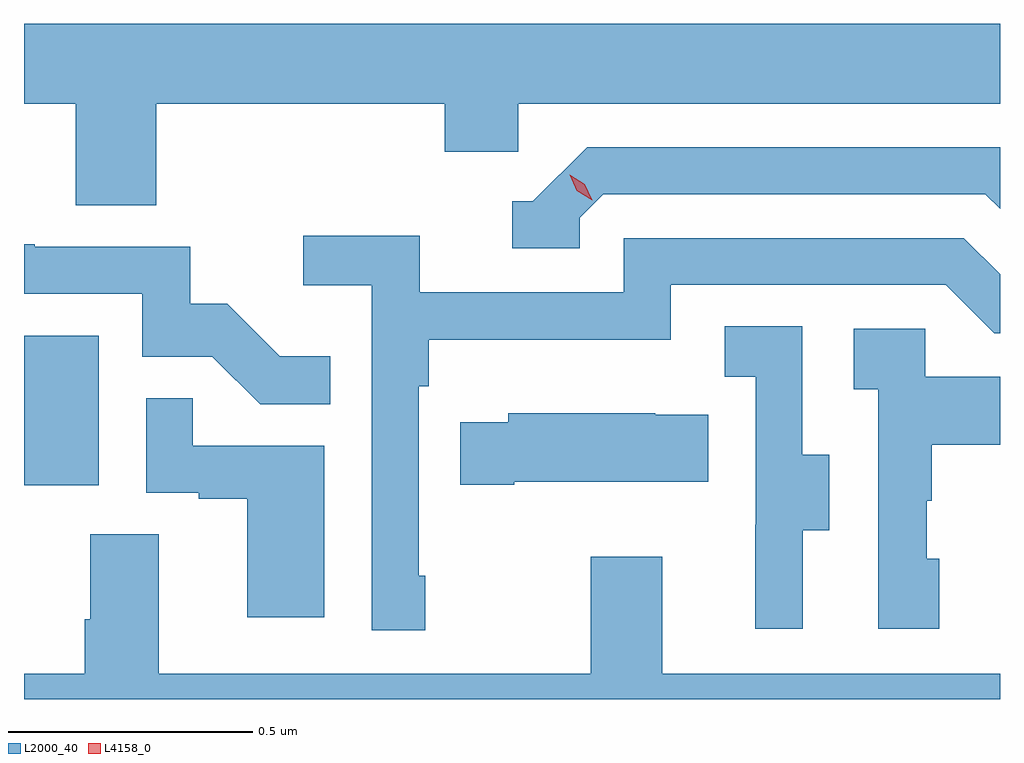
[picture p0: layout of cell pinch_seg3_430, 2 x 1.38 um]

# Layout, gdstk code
import gdstk
lib = gdstk.Library(unit=1e-6, precision=1e-09)
def R(c, l, rs):  # rectangles x0, y0, x1, y1
    for r in rs: c.add(gdstk.rectangle(r[:2], r[2:], *l))
def P(c, l, *ps):  # polygons
    for p in ps: c.add(gdstk.Polygon(p, *l))
L2000_40 = (2000, 40)
L4158_0 = (4158, 0)

pinch_seg3_430 = lib.new_cell('pinch_seg3_430')
R(pinch_seg3_430, L2000_40, [(938.113,702.798,938.266,703.105)])
P(pinch_seg3_430, L2000_40, [(938.384,703.58),(938.975,703.58),(938.975,703.482),(939.126,703.482),(939.126,703.58),(940.113,703.58),(940.113,703.744),(938.113,703.744),(938.113,703.58),(938.219,703.58),(938.219,703.372),(938.384,703.372)],
  [(939.252,703.347),(939.3,703.395),(940.083,703.395),(940.113,703.365),(940.113,703.491),(939.267,703.491),(939.156,703.38),(939.113,703.38),(939.113,703.284),(939.252,703.284)],
  [(938.935,702.613),(938.922,702.613),(938.922,703.001),(938.942,703.001),(938.942,703.097),(939.438,703.097),(939.438,703.209),(940.002,703.209),(940.101,703.11),(940.113,703.11),(940.113,703.231),(940.039,703.305),(939.342,703.305),(939.342,703.194),(938.924,703.194),(938.924,703.31),(938.685,703.31),(938.685,703.208),(938.826,703.208),(938.826,702.501),(938.935,702.501)],
  [(938.741,703.063),(938.637,703.063),(938.53,703.17),(938.454,703.17),(938.454,703.287),(938.135,703.287),(938.135,703.292),(938.113,703.292),(938.113,703.191),(938.355,703.191),(938.355,703.062),(938.499,703.062),(938.597,702.964),(938.741,702.964)],
  [(939.709,702.706),(939.763,702.706),(939.763,702.861),(939.708,702.861),(939.708,703.124),(939.549,703.124),(939.549,703.021),(939.612,703.021),(939.612,702.717),(939.611,702.717),(939.611,702.504),(939.709,702.504)],
  [(939.988,702.648),(939.963,702.648),(939.963,702.767),(939.973,702.767),(939.973,702.881),(940.113,702.881),(940.113,703.021),(939.96,703.021),(939.96,703.119),(939.813,703.119),(939.813,702.995),(939.864,702.995),(939.864,702.504),(939.988,702.504)],
  [(938.728,702.879),(938.459,702.879),(938.459,702.977),(938.364,702.977),(938.364,702.783),(938.471,702.783),(938.471,702.771),(938.57,702.771),(938.57,702.528),(938.728,702.528)],
  [(939.118,702.806),(939.515,702.806),(939.515,702.943),(939.407,702.943),(939.407,702.946),(939.105,702.946),(939.105,702.928),(939.007,702.928),(939.007,702.799),(939.118,702.799)],
  [(940.113,702.412),(939.421,702.412),(939.421,702.652),(939.274,702.652),(939.274,702.412),(938.389,702.412),(938.389,702.698),(938.249,702.698),(938.249,702.524),(938.237,702.524),(938.237,702.412),(938.113,702.412),(938.113,702.36),(940.113,702.36)])
P(pinch_seg3_430, L4158_0, [(939.277,703.382),(939.246,703.402),(939.231,703.435),(939.231,703.435),(939.231,703.435),(939.262,703.415),(939.277,703.382),(939.277,703.382)])

lib.write_gds('pinch_seg3_430.gds')
